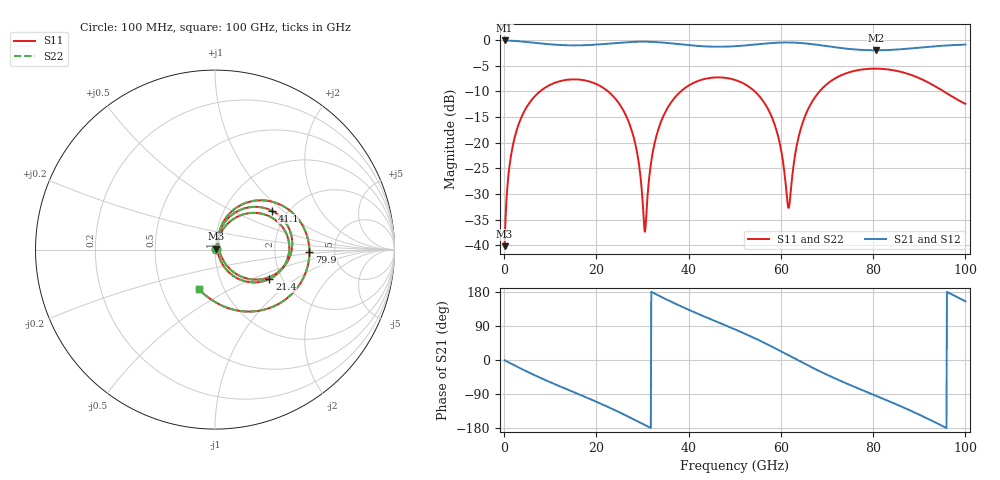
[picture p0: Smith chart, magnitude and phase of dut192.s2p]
! Touchstone file exported from HFSS 2026.1.0
!  File:  C:/ffzhzh/LocalFiles/Ansys_Project_Files/temp_train_TSV_RDL_192_1783655725_26216.aedt
!  Generated:  12:01:07 PM Jul 10, 2026
!  Design:  TSV_RDL
!  Project:  temp_train_TSV_RDL_192_1783655725_26216
! Variables:
!  h_bsmrdl = 4.69um
!  h_ox = 20um
!  h_rdl = 5um
!  h_sub = 50.25um
!  h_tmrdl = 4.28um
!  h_tsv = 50.25um
!  h_via = 3um
!  l_bsmrdl = 336.5um
!  l_sub = 1953.7um
!  l_tmrdl = 112.11um
!  m_sub = 200um
!  pitch = 40.25um
!  r_tsv = 11.87um
!  s_tmrdl = 10um
!  w_bsmrdl = 18.17um
!  w_sub = 500um
!  w_tmrdl = 13.75um
!  x_tsv_center1 = 118.985um
!  x_tsv_center2 = 473.655um
!  x_tsv_center3 = 599.515um
!  x_tsv_center4 = 954.185um
!  x_tsv_center5 = 1080.045um
!  x_tsv_center6 = 1434.715um
# GHz S MA R 50.000000
! Terminal data exported
! Port[1] = TM_RDL1_1_T1
! Port[2] = TM_RDL5_1_T1
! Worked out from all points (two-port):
!   1000 points, 100 MHz to 100 GHz, reference 50 ohm
!   highest |S21| = -0.07 dB at 100 MHz (marker M1); lowest = -2.0 dB at 80.6 GHz (marker M2)
!   |S21| within 3 dB of the highest: start of sweep to end of sweep
!   lowest |S11| = -40.2 dB at 100 MHz (marker M3), VSWR 1.02, Z = 50.8 + j0.551 ohm
!   |S11| at or under -10 dB: start of sweep to 7.778 GHz; 22.52 GHz to 38.31 GHz (15.79 GHz wide, 51.9 % of centre); 54.32 GHz to 68.38 GHz (14.06 GHz wide, 22.9 % of centre) (the widest 3 of 4)
!   |S22| runs from -40.2 to -5.6 dB; largest |S21 - S12| = 2.9e-12
!   S11 on the Smith chart (normalised r, x): 100 MHz: 1.02, +0.01; 21.4 GHz: 1.72, -0.64; 41.1 GHz: 1.66, +0.84; 79.9 GHz: 3.22, -0.12; 100 GHz: 0.76, -0.36
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0.1  0.009804 33.6  0.9919 -0.7  0.9919 -0.7  0.009804 33.6
! Gamma 0 0 0 0
! Port Impedance 50 0 50 0
1.6  0.08037 71.9  0.9858 -10.2  0.9858 -10.2  0.08037 71.9
4.3  0.1996 58.9  0.9644 -26.7  0.9644 -26.7  0.1996 58.9
16.8  0.4097 -5.3  0.8898 -93.6  0.8898 -93.6  0.4097 -5.3
21.4  0.3442 -28.4  0.9141 -117.7  0.9141 -117.7  0.3442 -28.4
27.5  0.1383 -59.5  0.9591 -153.0  0.9591 -153.0  0.1383 -59.5
29  0.07185 -63.3  0.9643 -162.2  0.9643 -162.2  0.07188 -63.2
30.5  0.01353 3.7  0.9651 -171.5  0.9651 -171.5  0.01366 3.7
33.4  0.1335 73.4  0.9536 170.6  0.9536 170.6  0.1335 73.4
41.1  0.3834 34.4  0.8837 126.7  0.8837 126.7  0.3834 34.4
50.1  0.4082 -9.6  0.8719 80.5  0.8719 80.5  0.4082 -9.7
57.9  0.1834 -48.5  0.9353 36.2  0.9353 36.2  0.1834 -48.7
59.8  0.09642 -53.5  0.9454 24.4  0.9454 24.4  0.09631 -53.9
61.6  0.02328 3.5  0.948 12.9  0.948 12.9  0.02262 3.2
63.9  0.1166 75.6  0.9396 -1.9  0.9396 -1.9  0.1164 76.0
66.7  0.2478 64.6  0.914 -19.4  0.914 -19.4  0.2477 64.8
72.8  0.4481 33.1  0.8393 -54.4  0.8393 -54.4  0.448 33.2
79.9  0.5264 -1.5  0.7957 -90.8  0.7957 -90.8  0.5264 -1.4
80.6  0.5267 -4.9  0.7954 -94.3  0.7954 -94.3  0.5267 -4.8
83.4  0.5162 -18.5  0.8009 -108.5  0.8009 -108.5  0.5162 -18.4
93.1  0.3619 -69.7  0.8682 -162.4  0.8682 -162.4  0.3619 -69.7
100  0.2392 -112.1  0.9036 154.9  0.9036 154.9  0.2392 -112.2
